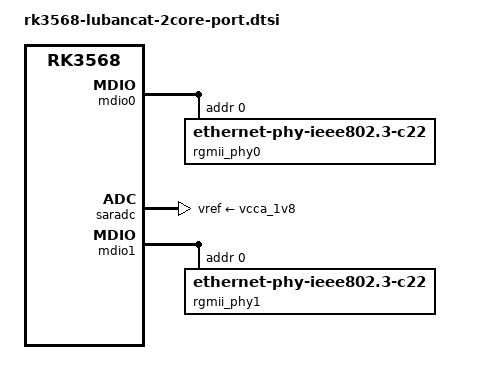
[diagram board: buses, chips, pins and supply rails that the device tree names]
// SPDX-License-Identifier: (GPL-2.0+ OR MIT)
/*
 * Copyright (c) 2020 Rockchip Electronics Co., Ltd.
 * Copyright (c) 2023 EmbedFire Electronic Technology Co., Ltd.
 *
 * LubanCat-2M MXM connector port devicestree
 */

/dts-v1/;

#include <dt-bindings/gpio/gpio.h>
#include <dt-bindings/pinctrl/rockchip.h>
#include "rk3568-lubancat-2core.dtsi"

/ {
	compatible = "rockchip,lubancat-2core-port", "rockchip,rk3568";
};

&sfc{
	pinctrl-names = "default";
	pinctrl-0 = <&fspi_pins>;
	assigned-clock-rates = <50000000>;
	status = "disabled";
};

&sdmmc0 {
	bus-width = <4>;
	vqmmc-supply = <&vccio_sd>;
	pinctrl-names = "default";
	pinctrl-0 = <&sdmmc0_bus4 &sdmmc0_clk &sdmmc0_cmd &sdmmc0_det>;
	status = "disabled";
};

/* USB OTG/USB Host_1 USB 2.0 Comb */
&usb2phy0 {
	status = "disabled";
};

&u2phy0_host {
	status = "disabled";
};

&u2phy0_otg {
	status = "disabled";
};

&usb_host0_ehci {
	status = "disabled";
};

&usb_host0_ohci {
	status = "disabled";
};

/* USB Host_2/USB Host_3 USB 2.0 Comb */
&usb2phy1 {
	status = "disabled";
};

&u2phy1_otg {
	status = "disabled";
};

&u2phy1_host {
	status = "disabled";
};

&usb_host1_ehci {
	status = "disabled";
};

&usb_host1_ohci {
	status = "disabled";
};

/* MULTI_PHY0 For SATA0, USB3.0 OTG0 */
&combphy0_us {
	status = "disabled";
};

&usbdrd30 {
	status = "disabled";
};

#if 0 //MULTI_PHY0
/* MULTI_PHY0 For USB3.0 OTG0 */
&usbdrd_dwc3 {
	status = "disabled";
};
else
/* MULTI_PHY0 For SATA0, USB3.0 OTG0 Only USB2.0 */
&usbdrd_dwc3 {
	phys = <&u2phy0_otg>;
	phy-names = "usb2-phy";
	extcon = <&usb2phy0>;
	maximum-speed = "high-speed";
	snps,dis_u2_susphy_quirk;
	status = "disabled";
};

&sata0 {
	status = "disabled";
};
#endif //MULTI_PHY0

/* MULTI_PHY1 For SATA1, USB3.0 HOST1, QSGMII_M0 */
&combphy1_usq {
	status = "disabled";
};

&usbhost30 {
	status = "disabled";
};

&usbhost_dwc3 {
	status = "disabled";
};

/* MULTI_PHY2 For SATA2, PCIe2.0, QSGMII_M1 */
&combphy2_psq {
	status = "disabled";
};

&sata2 {
	status = "disabled";
};

/* PCIe3.0x2 Comb */
&pcie30phy {
	status = "disabled";
};

&gmac0 {
	phy-mode = "rgmii";
	clock_in_out = "output";

	snps,reset-gpio = <&gpio1 RK_PA1 GPIO_ACTIVE_LOW>;
	snps,reset-active-low;
	/* Reset time is 20ms, 100ms for rtl8211f */
	snps,reset-delays-us = <0 75000 100000>;

	assigned-clocks = <&cru SCLK_GMAC0_RX_TX>, <&cru SCLK_GMAC0>;
	assigned-clock-parents = <&cru SCLK_GMAC0_RGMII_SPEED>, <&cru CLK_MAC0_2TOP>;
	assigned-clock-rates = <0>, <125000000>;

	pinctrl-names = "default";
	pinctrl-0 = <&gmac0_miim
			 &gmac0_tx_bus2
			 &gmac0_rx_bus2
			 &gmac0_rgmii_clk
			 &gmac0_rgmii_bus>;

	tx_delay = <0x1c>;
	rx_delay = <0x0d>;

	phy-handle = <&rgmii_phy0>;
	status = "disabled";
};

&mdio0 {
	rgmii_phy0: phy@0 {
		compatible = "ethernet-phy-ieee802.3-c22";
		reg = <0x0>;
		// led_status_value = <0x6940>;
	};
};

&uart8 {
	status = "disabled";
};

&saradc {
	status = "okay";
	vref-supply = <&vcca_1v8>;
};

&uart9 {
	status = "disabled"; //Default to use DTBO
	pinctrl-names = "default";
	pinctrl-0 = <&uart9m1_xfer>;
};

&sdmmc2 {
	status = "disabled";
};

&gmac1 {
	phy-mode = "rgmii";
	clock_in_out = "output";

	snps,reset-gpio = <&gpio0 RK_PC7 GPIO_ACTIVE_LOW>;
	snps,reset-active-low;
	/* Reset time is 20ms, 100ms for rtl8211f */
	snps,reset-delays-us = <0 75000 100000>;

	assigned-clocks = <&cru SCLK_GMAC1_RX_TX>, <&cru SCLK_GMAC1>;
	assigned-clock-parents = <&cru SCLK_GMAC1_RGMII_SPEED>, <&cru CLK_MAC1_2TOP>;
	assigned-clock-rates = <0>, <125000000>;

	pinctrl-names = "default";
	pinctrl-0 = <&gmac1m1_miim
			 &gmac1m1_tx_bus2
			 &gmac1m1_rx_bus2
			 &gmac1m1_rgmii_clk
			 &gmac1m1_rgmii_bus>;

	tx_delay = <0x20>;
	rx_delay = <0x02>;

	phy-handle = <&rgmii_phy1>;
	status = "disabled";
};

&mdio1 {
	rgmii_phy1: phy@0 {
		compatible = "ethernet-phy-ieee802.3-c22";
		reg = <0x0>;
		// led_status_value = <0x6940>;
	};
};

&i2c4 {
	status = "disabled";
};

&can1 {
	status = "disabled";
	compatible = "rockchip,rk3568-can-2.0";
	assigned-clocks = <&cru CLK_CAN1>;
    assigned-clock-rates = <200000000>;
	pinctrl-names = "default";
    pinctrl-0 = <&can1m1_pins>;
};

&can2 {
	status = "disabled";
	compatible = "rockchip,rk3568-can-2.0";
	pinctrl-names = "default";
	assigned-clocks = <&cru CLK_CAN2>;
    assigned-clock-rates = <200000000>;
	pinctrl-0 = <&can2m0_pins>;
};

&i2s3_2ch {
	status = "disabled";
};

&uart4 {
	status = "disabled";
	pinctrl-names = "default";
	pinctrl-0 = <&uart4m1_xfer>;
};

&i2c5 {
	status = "disabled";
};

&uart3 {
	status = "disabled";
	pinctrl-names = "default";
	pinctrl-0 = <&uart3m1_xfer>;
};

&uart7 {
	status = "disabled";
	pinctrl-names = "default";
	pinctrl-0 = <&uart7m1_xfer>;
};

&i2c3 {
	status = "disabled";
};
